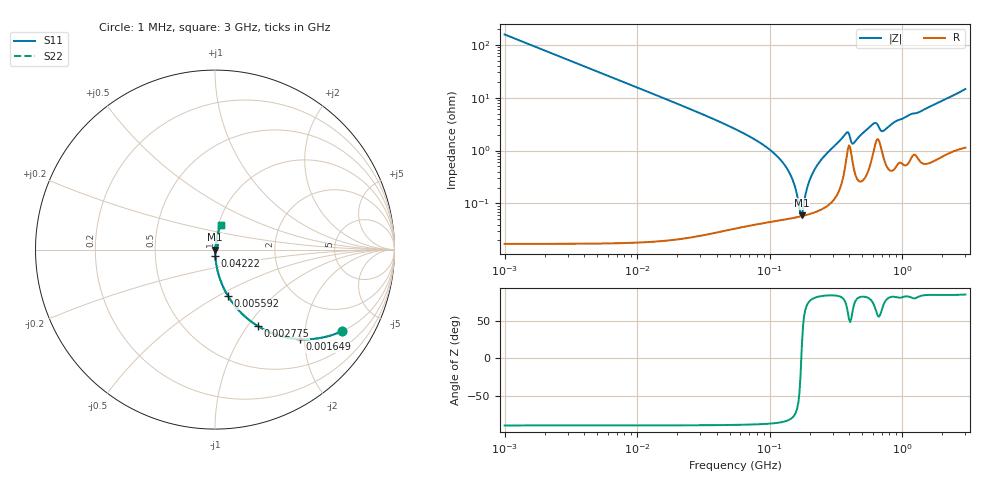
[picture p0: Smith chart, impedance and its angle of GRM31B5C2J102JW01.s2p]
!Murata Part Number: GRM31B5C2J102JW01
!These Parameters are Measured in Series Mode Connection
!Data Generated on Mar 30, 2021
!  o--ll--o
!Port1  Port2
!  o------o
!Operation Temp=25[degC], DC Bias Voltage=0[V]
!Freq. Start=1000[kHz] Stop=3[GHz] 401[Steps]
# Hz S RI R 50
!Freq.(Hz) S11(Real) S11(Imag) S21(Real) S21(Imag) S12(Real) S12(Imag) S22(Real) S22(Imag)
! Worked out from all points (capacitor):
!   401 points, 1 MHz to 3 GHz, reference 50 ohm
!   read as one part in series: C = 1.02 nF near 1.041 MHz
!   lowest |Z| = 59.8 mohm at 174.9 MHz (marker M1)
!   series resonance near 173.3 MHz, so ESL is about 830 pH
!   S11 on the Smith chart (normalised r, x): 1 MHz: 1.00, -3.13; 1.649 MHz: 1.00, -1.90; 2.775 MHz: 1.00, -1.13; 5.592 MHz: 1.00, -0.56; 42.22 MHz: 1.00, -0.07; 3 GHz: 1.02, +0.29
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1000000  0.7096 -0.4539  0.2904 0.4539  0.2904 0.4539  0.7096 -0.4539
1649378  0.4731 -0.4992  0.5269 0.4992  0.5269 0.4992  0.4731 -0.4992
2775447  0.2408 -0.4274  0.7592 0.4274  0.7592 0.4274  0.2408 -0.4274
3823119  0.1432 -0.3501  0.8568 0.3501  0.8568 0.3501  0.1432 -0.3501
5592179  0.0725 -0.2589  0.9275 0.2589  0.9275 0.2589  0.0725 -0.2589
1.461624e7  0.0113 -0.1049  0.9887 0.1049  0.9887 0.1049  0.0113 -0.1049
4.22235e7  0.00149 -0.0347  0.9985 0.0347  0.9985 0.0347  0.00149 -0.0347
5.477226e7  0.000989 -0.0256  0.999 0.0256  0.999 0.0256  0.000989 -0.0256
9.034013e7  0.000583 -0.0126  0.9994 0.0126  0.9994 0.0126  0.000583 -0.0126
1.244416e8  0.000524 -0.00609  0.9995 0.00609  0.9995 0.00609  0.000524 -0.00609
1.460522e8  0.000533 -0.00312  0.9995 0.00312  0.9995 0.00312  0.000533 -0.00312
1.680187e8  0.000562 -0.000567  0.9994 0.000567  0.9994 0.000567  0.000562 -0.000567
1.748812e8  0.000575 0.000163  0.9994 -0.000163  0.9994 -0.000163  0.000575 0.000163
1.93289e8  0.000618 0.00201  0.9994 -0.00201  0.9994 -0.00201  0.000618 0.00201
2.094008e8  0.000665 0.00351  0.9993 -0.00351  0.9993 -0.00351  0.000665 0.00351
2.507343e8  0.000838 0.00713  0.9992 -0.00713  0.9992 -0.00713  0.000838 0.00713
3.741707e8  0.00595 0.0198  0.9941 -0.0198  0.9941 -0.0198  0.00595 0.0198
4.304467e8  0.00485 0.0128  0.9952 -0.0128  0.9952 -0.0128  0.00485 0.0128
6.049187e8  0.00983 0.0301  0.9902 -0.0301  0.9902 -0.0301  0.00983 0.0301
7.099691e8  0.00912 0.0211  0.9909 -0.0211  0.9909 -0.0211  0.00912 0.0211
8.005644e8  0.00508 0.0287  0.9949 -0.0287  0.9949 -0.0287  0.00508 0.0287
3e9  0.0312 0.1391  0.9688 -0.1391  0.9688 -0.1391  0.0312 0.1391
